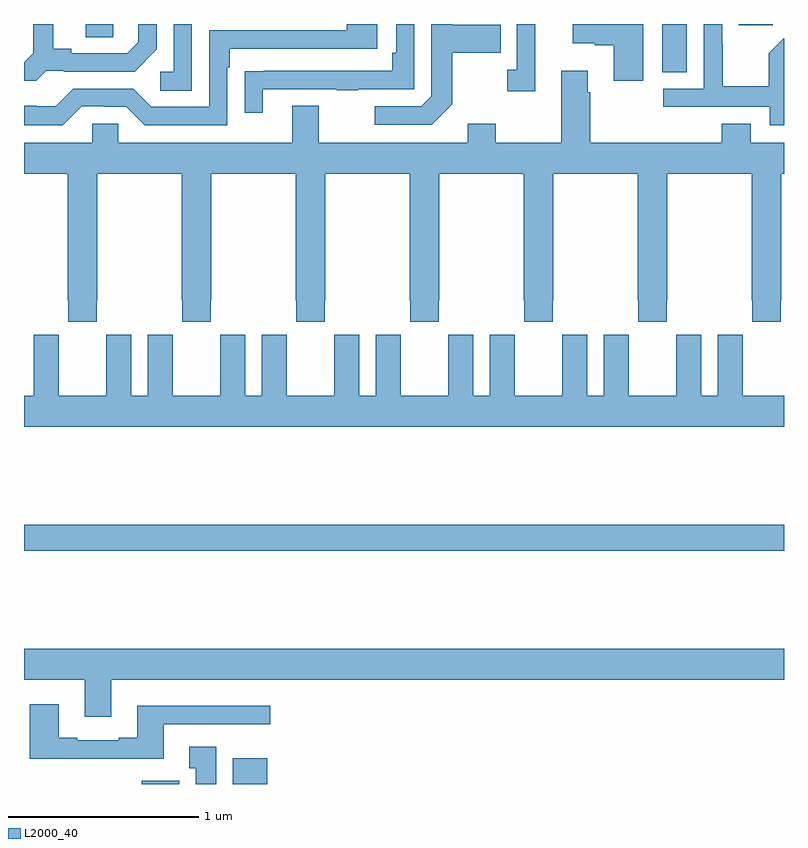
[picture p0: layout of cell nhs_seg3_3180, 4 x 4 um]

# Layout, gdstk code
import gdstk
lib = gdstk.Library(unit=1e-6, precision=1e-09)
def R(c, l, rs):  # rectangles x0, y0, x1, y1
    for r in rs: c.add(gdstk.rectangle(r[:2], r[2:], *l))
def P(c, l, *ps):  # polygons
    for p in ps: c.add(gdstk.Polygon(p, *l))
L2000_40 = (2000, 40)

nhs_seg3_3180 = lib.new_cell('nhs_seg3_3180')
R(nhs_seg3_3180, L2000_40, [(277.619,668.4,277.816,668.416), (278.099,668.4,278.281,668.536), (277,669.628,281,669.764), (280.358,672.145,280.489,672.4), (277.325,672.331,277.47,672.4), (280.763,672.393,280.942,672.4)])
P(nhs_seg3_3180, L2000_40, [(279.253,671.977),(279.253,672.25),(279.509,672.25),(279.509,672.397),(279.253,672.397),(279.253,672.4),(279.144,672.4),(279.144,672.021),(279.09,671.967),(278.847,671.967),(278.847,671.871),(279.147,671.871)],
  [(281,672.322),(280.998,672.324),(280.921,672.247),(280.921,672.073),(280.677,672.073),(280.677,672.296),(280.674,672.296),(280.674,672.4),(280.578,672.4),(280.578,672.06),(280.365,672.06),(280.365,671.964),(280.926,671.964),(280.926,671.867),(281,671.867)],
  [(278.257,672.057),(278.647,672.057),(278.647,672.052),(278.759,672.052),(278.759,672.057),(279.054,672.057),(279.054,672.4),(278.958,672.4),(278.958,672.25),(278.938,672.25),(278.938,672.153),(278.263,672.153),(278.263,672.152),(278.161,672.152),(278.161,671.934),(278.257,671.934)],
  [(280.258,672.4),(279.888,672.4),(279.888,672.299),(280.004,672.299),(280.004,672.287),(280.103,672.287),(280.103,672.102),(280.258,672.102)],
  [(279.692,672.4),(279.594,672.4),(279.594,672.158),(279.543,672.158),(279.543,672.045),(279.692,672.045)],
  [(277.884,672.4),(277.788,672.4),(277.788,672.15),(277.716,672.15),(277.716,672.049),(277.884,672.049)],
  [(277.116,672.153),(277.21,672.153),(277.21,672.15),(277.582,672.15),(277.698,672.266),(277.698,672.4),(277.601,672.4),(277.601,672.303),(277.544,672.246),(277.249,672.246),(277.249,672.269),(277.153,672.269),(277.153,672.4),(277.049,672.4),(277.049,672.245),(277.002,672.198),(277,672.198),(277,672.101),(277.064,672.101)],
  [(277.305,671.967),(277.421,671.967),(277.421,671.964),(277.539,671.964),(277.635,671.868),(278.07,671.868),(278.07,672.173),(278.083,672.173),(278.083,672.27),(278.86,672.27),(278.86,672.4),(278.699,672.4),(278.699,672.366),(277.974,672.366),(277.974,671.964),(277.671,671.964),(277.575,672.06),(277.26,672.06),(277.167,671.967),(277.067,671.967),(277.067,671.971),(277,671.971),(277,671.867),(277.205,671.867)],
  [(280.825,671.875),(280.673,671.875),(280.673,671.776),(279.98,671.776),(279.98,672.041),(279.967,672.041),(279.967,672.154),(279.827,672.154),(279.827,671.776),(279.483,671.776),(279.483,671.875),(279.335,671.875),(279.335,671.776),(278.551,671.776),(278.551,671.971),(278.411,671.971),(278.411,671.776),(277.497,671.776),(277.497,671.874),(277.359,671.874),(277.359,671.776),(277,671.776),(277,671.612),(277.231,671.612),(277.231,670.945),(277.233,670.945),(277.233,670.833),(277.383,670.833),(277.383,670.945),(277.386,670.945),(277.386,671.612),(277.831,671.612),(277.831,670.945),(277.833,670.945),(277.833,670.833),(277.983,670.833),(277.983,670.945),(277.986,670.945),(277.986,671.612),(278.431,671.612),(278.431,670.945),(278.433,670.945),(278.433,670.833),(278.583,670.833),(278.583,670.945),(278.586,670.945),(278.586,671.612),(279.031,671.612),(279.031,670.945),(279.033,670.945),(279.033,670.833),(279.183,670.833),(279.183,670.945),(279.186,670.945),(279.186,671.612),(279.631,671.612),(279.631,670.945),(279.633,670.945),(279.633,670.833),(279.783,670.833),(279.783,670.945),(279.786,670.945),(279.786,671.612),(280.231,671.612),(280.231,670.945),(280.233,670.945),(280.233,670.833),(280.383,670.833),(280.383,670.945),(280.386,670.945),(280.386,671.612),(280.831,671.612),(280.831,670.945),(280.833,670.945),(280.833,670.833),(280.983,670.833),(280.983,670.945),(280.986,670.945),(280.986,671.612),(281,671.612),(281,671.776),(280.825,671.776)],
  [(278.982,670.652),(278.982,670.765),(278.852,670.765),(278.852,670.444),(278.764,670.444),(278.764,670.765),(278.634,670.765),(278.634,670.652),(278.633,670.652),(278.633,670.444),(278.383,670.444),(278.383,670.652),(278.382,670.652),(278.382,670.765),(278.252,670.765),(278.252,670.444),(278.164,670.444),(278.164,670.765),(278.034,670.765),(278.034,670.652),(278.033,670.652),(278.033,670.444),(277.783,670.444),(277.783,670.652),(277.782,670.652),(277.782,670.765),(277.652,670.765),(277.652,670.444),(277.564,670.444),(277.564,670.765),(277.434,670.765),(277.434,670.652),(277.433,670.652),(277.433,670.444),(277.183,670.444),(277.183,670.652),(277.182,670.652),(277.182,670.765),(277.052,670.765),(277.052,670.444),(277,670.444),(277,670.28),(281,670.28),(281,670.444),(280.783,670.444),(280.783,670.652),(280.782,670.652),(280.782,670.765),(280.652,670.765),(280.652,670.444),(280.564,670.444),(280.564,670.765),(280.434,670.765),(280.434,670.652),(280.433,670.652),(280.433,670.444),(280.183,670.444),(280.183,670.652),(280.182,670.652),(280.182,670.765),(280.052,670.765),(280.052,670.444),(279.964,670.444),(279.964,670.765),(279.834,670.765),(279.834,670.652),(279.833,670.652),(279.833,670.444),(279.583,670.444),(279.583,670.652),(279.582,670.652),(279.582,670.765),(279.452,670.765),(279.452,670.444),(279.364,670.444),(279.364,670.765),(279.234,670.765),(279.234,670.652),(279.233,670.652),(279.233,670.444),(278.983,670.444),(278.983,670.652)],
  [(277.459,668.948),(281,668.948),(281,669.112),(277,669.112),(277,668.948),(277.319,668.948),(277.319,668.754),(277.459,668.754)],
  [(277.735,668.715),(278.296,668.715),(278.296,668.812),(277.595,668.812),(277.595,668.644),(277.499,668.644),(277.499,668.631),(277.279,668.631),(277.279,668.644),(277.183,668.644),(277.183,668.821),(277.031,668.821),(277.031,668.534),(277.735,668.534)],
  [(278.011,668.596),(277.871,668.596),(277.871,668.483),(277.904,668.483),(277.904,668.4),(278.011,668.4)])

lib.write_gds('nhs_seg3_3180.gds')
